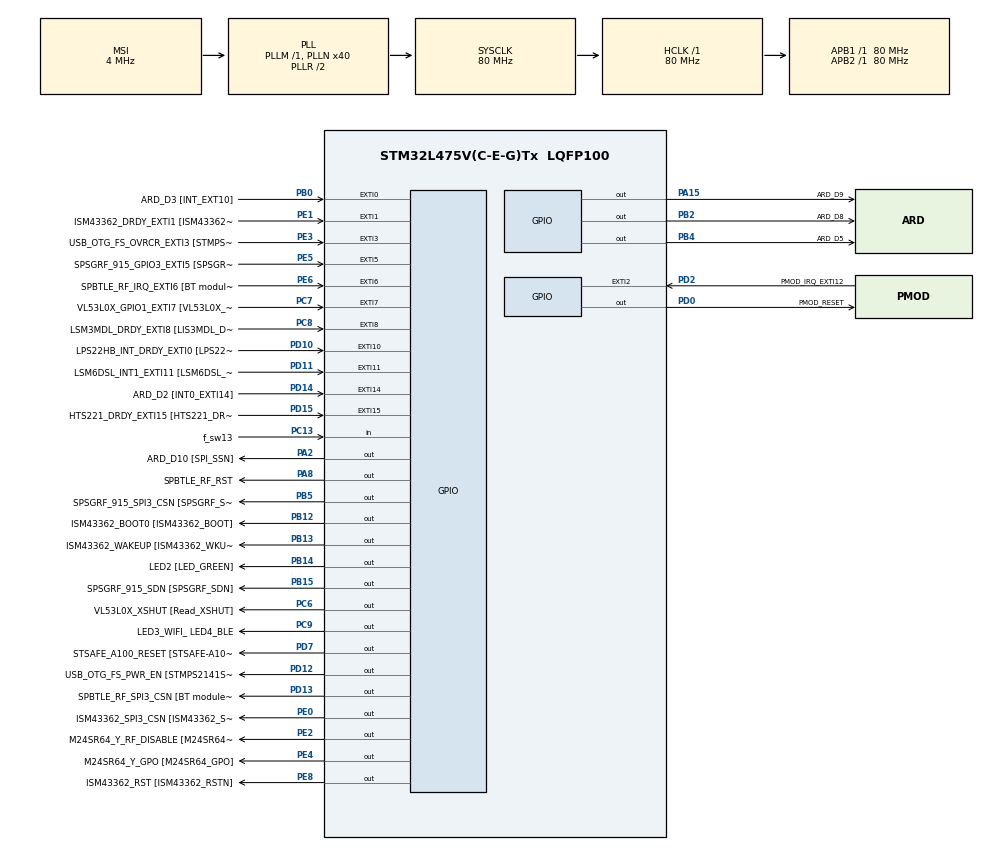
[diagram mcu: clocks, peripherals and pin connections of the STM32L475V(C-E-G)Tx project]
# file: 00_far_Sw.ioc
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Mcu.Family=STM32L4
Mcu.Name=STM32L475V(C-E-G)Tx
Mcu.Package=LQFP100
NVIC.EXTI15_10_IRQn=true\:0\:0\:false\:false\:true\:true\:true
NVIC.EXTI9_5_IRQn=true\:0\:0\:false\:false\:true\:true\:true
NVIC.PriorityGroup=NVIC_PRIORITYGROUP_4
NVIC.TIM1_UP_TIM16_IRQn=true\:0\:0\:false\:false\:true\:true\:true
PA0.GPIO_Label=ARD_D1 [UART4_TX]
PA0.Signal=UART4_TX
PA1.GPIO_Label=ARD_D0 [UART4_RX]
PA1.Signal=UART4_RX
PA10.GPIO_Label=USB_OTG_FS_ID
PA10.Signal=USB_OTG_FS_ID
PA11.GPIO_Label=USB_OTG_FS_DM
PA11.Signal=USB_OTG_FS_DM
PA12.GPIO_Label=USB_OTG_FS_DP
PA12.Signal=USB_OTG_FS_DP
PA13\ (JTMS-SWDIO).GPIO_Label=SYS_JTMS_SWDIO
PA13\ (JTMS-SWDIO).Signal=SYS_JTMS-SWDIO
PA14\ (JTCK-SWCLK).GPIO_Label=SYS_JTCK_SWCLK
PA14\ (JTCK-SWCLK).Signal=SYS_JTCK-SWCLK
PA15\ (JTDI).GPIO_Label=ARD_D9
PA15\ (JTDI).Signal=GPIO_Output
PA2.GPIO_Label=ARD_D10 [SPI_SSN]
PA2.Signal=GPIO_Output
PA3.GPIO_Label=ARD_D4
PA3.Signal=S_TIM2_CH4
PA4.GPIO_Label=ARD_D7
PA4.Signal=ADCx_IN9
PA5.GPIO_Label=ARD_D13 [SPI1_SCK]
PA5.Signal=SPI1_SCK
PA6.GPIO_Label=ARD_D12 [SPI1_MISO]
PA6.Signal=SPI1_MISO
PA7.GPIO_Label=ARD_D11 [SPI1_MOSI]
PA7.Signal=SPI1_MOSI
PA8.GPIO_Label=SPBTLE_RF_RST
PA8.Signal=GPIO_Output
PA9.GPIO_Label=USB_OTG_FS_VBUS [STMPS2141STR_OUT]
PA9.Signal=USB_OTG_FS_VBUS
PB0.GPIO_Label=ARD_D3 [INT_EXT10]
PB0.Signal=GPXTI0
PB1.GPIO_Label=ARD_D6 [ADC1_IN6]
PB1.Signal=ADCx_IN16
PB10.GPIO_Label=INTERNAL_I2C2_SCL [VL53L0X_SCL]
PB10.Signal=I2C2_SCL
PB11.GPIO_Label=INTERNAL_I2C2_SDA [VL53L0X_SDA]
PB11.Signal=I2C2_SDA
PB12.GPIO_Label=ISM43362_BOOT0 [ISM43362_BOOT]
PB12.Signal=GPIO_Output
PB13.GPIO_Label=ISM43362_WAKEUP [ISM43362_WKUP]
PB13.Signal=GPIO_Output
PB14.GPIO_Label=LED2 [LED_GREEN]
PB14.Signal=GPIO_Output
PB15.GPIO_Label=SPSGRF_915_SDN [SPSGRF_SDN]
PB15.Signal=GPIO_Output
PB2.GPIO_Label=ARD_D8
PB2.Signal=GPIO_Output
PB3\ (JTDO-TRACESWO).GPIO_Label=SYS_JTD0_SWO
PB3\ (JTDO-TRACESWO).Signal=SYS_JTDO-SWO
PB4\ (NJTRST).GPIO_Label=ARD_D5
PB4\ (NJTRST).Signal=GPIO_Output
PB5.GPIO_Label=SPSGRF_915_SPI3_CSN [SPSGRF_SPI_CS]
PB5.PinState=GPIO_PIN_SET
PB5.Signal=GPIO_Output
PB6.GPIO_Label=ST_LINK_UART1_TX
PB6.Signal=USART1_TX
PB7.GPIO_Label=ST_LINK_UART1_RX
PB7.Signal=USART1_RX
PB8.GPIO_Label=ARD_D15 [I2C1_SCL]
PB8.Signal=I2C1_SCL
PB9.GPIO_Label=ARD_D14 [I2C1_SDA]
PB9.Signal=I2C1_SDA
PC0.GPIO_Label=ARD_A5 [ADC]
PC0.Signal=ADCx_IN1
PC1.GPIO_Label=ARD_A4 [ADC]
PC1.Signal=ADCx_IN2
PC10.GPIO_Label=INTERNAL_SPI3_SCK [BT module_SPI_SCLK] [ISM43362_SCK]
PC10.Signal=SPI3_SCK
PC11.GPIO_Label=INTERNAL_SPI3_MISO [BT module_SPI_MISO] [ISM43362_MISO]
PC11.Signal=SPI3_MISO
PC12.GPIO_Label=INTERNAL_SPI3_MOSI [BT module_SPI_MOSI] [ISM43362_MOSI]
PC12.Signal=SPI3_MOSI
PC13.GPIO_Label=f_sw13
PC13.Signal=GPIO_Input
PC14-OSC32_IN\ (PC14).Signal=RCC_OSC32_IN
PC15-OSC32_OUT\ (PC15).Signal=RCC_OSC32_OUT
PC2.GPIO_Label=ARD_A3 [ADC]
PC2.Signal=ADCx_IN3
PC3.GPIO_Label=ARD_A2 [ADC]
PC3.Signal=ADCx_IN4
PC4.GPIO_Label=ARD_A1 [ADC]
PC4.Signal=ADCx_IN13
PC5.GPIO_Label=ARD_A0 [ADC]
PC5.Signal=ADCx_IN14
PC6.GPIO_Label=VL53L0X_XSHUT [Read_XSHUT]
PC6.Signal=GPIO_Output
PC7.GPIO_Label=VL53L0X_GPIO1_EXTI7 [VL53L0X_GPIO1]
PC7.Signal=GPXTI7
PC8.GPIO_Label=LSM3MDL_DRDY_EXTI8 [LIS3MDL_DRDY]
PC8.Signal=GPXTI8
PC9.GPIO_Label=LED3_WIFI_ LED4_BLE
PC9.Signal=GPIO_Output
PD0.GPIO_Label=PMOD_RESET
PD0.Signal=GPIO_Output
PD1.GPIO_Label=PMOD_SPI2_SCK
PD1.Signal=SPI2_SCK
PD10.GPIO_Label=LPS22HB_INT_DRDY_EXTI0 [LPS22HB_INT_DRDY] 
PD10.Signal=GPXTI10
PD11.GPIO_Label=LSM6DSL_INT1_EXTI11 [LSM6DSL_INT1]
PD11.Signal=GPXTI11
PD12.GPIO_Label=USB_OTG_FS_PWR_EN [STMPS2141STR_EN]
PD12.Signal=GPIO_Output
PD13.GPIO_Label=SPBTLE_RF_SPI3_CSN [BT module_SPI_CS]
PD13.PinState=GPIO_PIN_SET
PD13.Signal=GPIO_Output
PD14.GPIO_Label=ARD_D2 [INT0_EXTI14]
PD14.Signal=GPXTI14
PD15.GPIO_Label=HTS221_DRDY_EXTI15 [HTS221_DRDY]
PD15.Signal=GPXTI15
PD2.GPIO_Label=PMOD_IRQ_EXTI12
PD2.Signal=GPXTI2
PD3.GPIO_Label=PMOD_UART2_CTS
PD3.Signal=USART2_CTS
PD4.GPIO_Label=PMOD_UART2_RTS
PD4.Signal=USART2_RTS
PD5.GPIO_Label=PMOD_UART2_TX
PD5.Signal=USART2_TX
PD6.GPIO_Label=PMOD_UART2_RX
PD6.Signal=USART2_RX
PD7.GPIO_Label=STSAFE_A100_RESET [STSAFE-A100_RESET]
PD7.Signal=GPIO_Output
PD8.GPIO_Label=INTERNAL_UART3_TX [ISM43362_RX]
PD8.Signal=USART3_TX
PD9.GPIO_Label=INTERNAL_UART3_RX [ISM43362_TX]
PD9.Signal=USART3_RX
PE0.GPIO_Label=ISM43362_SPI3_CSN [ISM43362_SSN]
PE0.PinState=GPIO_PIN_SET
PE0.Signal=GPIO_Output
PE1.GPIO_Label=ISM43362_DRDY_EXTI1 [ISM43362_DATARDY]
PE1.Signal=GPXTI1
PE10.GPIO_Label=QUADSPI_CLK [MX25R6435F_SCLK]
PE10.Signal=QUADSPI_CLK
PE11.GPIO_Label=QUADSPI_NCS [MX25R6435F_SCLK]
PE11.Signal=QUADSPI_NCS
PE12.GPIO_Label=OQUADSPI_BK1_IO0 [MX25R6435F_IO0]
PE12.Signal=QUADSPI_BK1_IO0
PE13.GPIO_Label=QUADSPI_BK1_IO1 [MX25R6435F_IO1]
PE13.Signal=QUADSPI_BK1_IO1
PE14.GPIO_Label=QUAD_SPI_BK1_IO2 [MX25R6435F_IO2]
PE14.Signal=QUADSPI_BK1_IO2
PE15.GPIO_Label=QUAD_SPI_BK1_IO3 [MX25R6435F_IO3]
PE15.Signal=QUADSPI_BK1_IO3
PE2.GPIO_Label=M24SR64_Y_RF_DISABLE [M24SR64_RFDIS]
PE2.Signal=GPIO_Output
PE3.GPIO_Label=USB_OTG_FS_OVRCR_EXTI3 [STMPS2141STR_FAULT]
PE3.Signal=GPXTI3
PE4.GPIO_Label=M24SR64_Y_GPO [M24SR64_GPO]
PE4.Signal=GPIO_Output
PE5.GPIO_Label=SPSGRF_915_GPIO3_EXTI5 [SPSGRF_GPIO_3]
PE5.Signal=GPXTI5
PE6.GPIO_Label=SPBTLE_RF_IRQ_EXTI6 [BT module_SPI_IRQ]
PE6.Signal=GPXTI6
PE7.GPIO_Label=DFSDM1_DATIN2 [MP34DT01_DOUT]
PE7.Signal=S_DATAIN2DFSDM1
PE8.GPIO_Label=ISM43362_RST [ISM43362_RSTN]
PE8.Signal=GPIO_Output
PE9.GPIO_Label=DFSDM1_CKOUT [MP34DT01_CLK]
PE9.Signal=S_CKOUTDFSDM1
ProjectManager.HeapSize=0x200
ProjectManager.StackSize=0x400
ProjectManager.TargetToolchain=STM32CubeIDE
RCC.ADCFreq_Value=48000000
RCC.AHBFreq_Value=80000000
RCC.APB1Freq_Value=80000000
RCC.APB1TimFreq_Value=80000000
RCC.APB2Freq_Value=80000000
RCC.APB2TimFreq_Value=80000000
RCC.CortexFreq_Value=80000000
RCC.HCLKFreq_Value=80000000
RCC.HSE_VALUE=8000000
RCC.HSI_VALUE=16000000
RCC.LSE_VALUE=32768
RCC.MSI_VALUE=4000000
RCC.PLLN=40
RCC.PLLSAI1N=24
RCC.SYSCLKFreq_VALUE=80000000
RCC.SYSCLKSource=RCC_SYSCLKSOURCE_PLLCLK
RCC.USBFreq_Value=48000000
RCC.VCOOutputFreq_Value=160000000
SH.ADCx_IN1.0=ADC1_IN1
SH.ADCx_IN13.0=ADC1_IN13
SH.ADCx_IN14.0=ADC1_IN14
SH.ADCx_IN16.0=ADC1_IN16
SH.ADCx_IN2.0=ADC1_IN2
SH.ADCx_IN3.0=ADC1_IN3
SH.ADCx_IN4.0=ADC1_IN4
SH.ADCx_IN9.0=ADC1_IN9
SH.S_CKOUTDFSDM1.0=DFSDM1_CKOUT
SH.S_DATAIN2DFSDM1.0=DFSDM1_DATIN2
SH.S_TIM2_CH4.0=TIM2_CH4
TIM16.Prescaler=8000-1
VP_TIM16_VS_ClockSourceINT.Mode=Enable_Timer
board=B-L475E-IOT01A1

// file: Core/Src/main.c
/* USER CODE BEGIN Header */
/**
  ******************************************************************************
  * @file           : main.c
  * @brief          : Main program body
  ******************************************************************************
  * @attention
  *
  * <h2><center>&copy; Copyright (c) 2022 STMicroelectronics.
  * All rights reserved.</center></h2>
  *
  * This software component is licensed by ST under BSD 3-Clause license,
  * the "License"; You may not use this file except in compliance with the
  * License. You may obtain a copy of the License at:
  *                        opensource.org/licenses/BSD-3-Clause
  *
  ******************************************************************************
  */
/* USER CODE END Header */
#include "main.h"

/* USER CODE BEGIN Includes */
#include"stdio.h"
#include"string.h"
#include"stdbool.h"
/* USER CODE END Includes */

TIM_HandleTypeDef htim16;

/* USER CODE BEGIN PV */
uint16_t f_lastDebounceTime = 0;  					// the last time the output pin was toggled
uint16_t f_debounceDelay = 50;    					// the debounce time; increase if the output flickers
uint16_t f_presstime, f_releasetime; 				    //for saving millis at press and millis at release
uint16_t f_timediff; 								    //for saving the time in between each press and release of the switch
int f_lastButtonState = 1;   					    // the previous reading from the input Button
bool f_buttonState = 1; 						    //saving state of the switch
bool f_flag1, f_flag2; 								//just two variables
uint8_t f_tapCounter=0; 							//switch pressed counter
uint16_t f_reading=0;

volatile double f_timertest=0;
/* USER CODE END PV */

void SystemClock_Config(void);
static void MX_GPIO_Init(void);
static void MX_TIM16_Init(void);

int main(void)
{

  /* MCU Configuration--------------------------------------------------------*/

  /* Reset of all peripherals, Initializes the Flash interface and the Systick. */
  HAL_Init();

  /* Configure the system clock */
  SystemClock_Config();

  /* Initialize all configured peripherals */
  MX_GPIO_Init();
  MX_TIM16_Init();
  /* USER CODE BEGIN 2 */
  HAL_TIM_Base_Start(&htim16);
  /* USER CODE END 2 */

  /* Infinite loop */
  while (1)
  {

    /* USER CODE BEGIN 3 */
	    f_timertest = __HAL_TIM_GET_COUNTER(&htim16); // Get current time (microseconds)

	    f_reading = HAL_GPIO_ReadPin (GPIOC, f_sw13_Pin);

	    if (f_reading != f_lastButtonState)
	    {
	    	// reset the debouncing timer
	    	f_lastDebounceTime = __HAL_TIM_GET_COUNTER(&htim16)/1000;//millis
	    }
	  	if (((__HAL_TIM_GET_COUNTER(&htim16)/100) - f_lastDebounceTime) > f_debounceDelay)
	  	{
	      // if the button state has changed:
	      if (f_reading != f_buttonState)
	      {
	        f_buttonState = f_reading;
	      }
	    }

	    //printf("button stage : %d\n",f_buttonState)  //when switch is pressed
	    if ((f_buttonState == 0) && (f_flag2 == 0))
	    {
	      f_presstime = (__HAL_TIM_GET_COUNTER(&htim16)/100); //press time in millis
	      f_flag1 = 0;
	      f_flag2 = 1;
	      f_tapCounter++; //tap counter will increase by 1
	      //printf("Button Press : %d\n",f_tapCounter);
	    }
	    //when button is released
	    if ((f_buttonState == 1) && (f_flag1 == 0))
	    {
	      f_releasetime = (__HAL_TIM_GET_COUNTER(&htim16)/100); //release time in millis
	      f_flag1 = 1;
	      f_flag2 = 0;
	      f_timediff = f_releasetime - f_presstime; //the time gap between press and release
	      printf(" Time gap between Button press and release : %d\n",f_timediff);
	    }

//*****************************************

		  //wait for some time and if sw is in release position
			if (((__HAL_TIM_GET_COUNTER(&htim16)/100)- f_presstime) > 100 && f_buttonState == 1)
			{
				  if (f_tapCounter == 1) //if tap counter is 1
				  {
					if (f_timediff >= 100) //if time diff is larger than 400 then its a hold
					{
						printf("Hold\n");
					}
					else //if timediff is less than 400 then its a single tap
					{
						printf("single tap\n");
					}
				  }
				  else if (f_tapCounter == 2 ) //if tapcounter is 2
				  {
					if (f_timediff >= 100) // if timediff is greater than  400 then its single tap and hold
					{
						printf("single tap and hold\n");
					}
					else // if timediff is less than 400 then its just double tap
					{
						printf("double tap\n");
					}
				  }
				  else if (f_tapCounter == 3) //if tapcounter is 3 //then its triple tap
				  {
					  printf("triple tap\n");
				  }
				  else if (f_tapCounter == 4) //if tapcounter is 4 then its 4 tap
				  {
					  printf("four tap\n");
				  }

			  f_tapCounter = 0;
			}

		f_lastButtonState = f_reading;

	}

//****************************************

  /* USER CODE END 3 */
}

void SystemClock_Config(void)
{
  RCC_OscInitTypeDef RCC_OscInitStruct = {0};
  RCC_ClkInitTypeDef RCC_ClkInitStruct = {0};

  /** Configure the main internal regulator output voltage
  */
  if (HAL_PWREx_ControlVoltageScaling(PWR_REGULATOR_VOLTAGE_SCALE1) != HAL_OK)
  {
    Error_Handler();
  }
  /** Initializes the RCC Oscillators according to the specified parameters
  * in the RCC_OscInitTypeDef structure.
  */
  RCC_OscInitStruct.OscillatorType = RCC_OSCILLATORTYPE_MSI;
  RCC_OscInitStruct.MSIState = RCC_MSI_ON;
  RCC_OscInitStruct.MSICalibrationValue = 0;
  RCC_OscInitStruct.MSIClockRange = RCC_MSIRANGE_6;
  RCC_OscInitStruct.PLL.PLLState = RCC_PLL_ON;
  RCC_OscInitStruct.PLL.PLLSource = RCC_PLLSOURCE_MSI;
  RCC_OscInitStruct.PLL.PLLM = 1;
  RCC_OscInitStruct.PLL.PLLN = 40;
  RCC_OscInitStruct.PLL.PLLP = RCC_PLLP_DIV7;
  RCC_OscInitStruct.PLL.PLLQ = RCC_PLLQ_DIV2;
  RCC_OscInitStruct.PLL.PLLR = RCC_PLLR_DIV2;
  if (HAL_RCC_OscConfig(&RCC_OscInitStruct) != HAL_OK)
  {
    Error_Handler();
  }
  /** Initializes the CPU, AHB and APB buses clocks
  */
  RCC_ClkInitStruct.ClockType = RCC_CLOCKTYPE_HCLK|RCC_CLOCKTYPE_SYSCLK
                              |RCC_CLOCKTYPE_PCLK1|RCC_CLOCKTYPE_PCLK2;
  RCC_ClkInitStruct.SYSCLKSource = RCC_SYSCLKSOURCE_PLLCLK;
  RCC_ClkInitStruct.AHBCLKDivider = RCC_SYSCLK_DIV1;
  RCC_ClkInitStruct.APB1CLKDivider = RCC_HCLK_DIV1;
  RCC_ClkInitStruct.APB2CLKDivider = RCC_HCLK_DIV1;

  if (HAL_RCC_ClockConfig(&RCC_ClkInitStruct, FLASH_LATENCY_4) != HAL_OK)
  {
    Error_Handler();
  }
}

static void MX_TIM16_Init(void)
{

  htim16.Instance = TIM16;
  htim16.Init.Prescaler = 8000-1;
  htim16.Init.CounterMode = TIM_COUNTERMODE_UP;
  htim16.Init.Period = 65535;
  htim16.Init.ClockDivision = TIM_CLOCKDIVISION_DIV1;
  htim16.Init.RepetitionCounter = 0;
  htim16.Init.AutoReloadPreload = TIM_AUTORELOAD_PRELOAD_DISABLE;
  if (HAL_TIM_Base_Init(&htim16) != HAL_OK)
  {
    Error_Handler();
  }

}

static void MX_GPIO_Init(void)
{
  GPIO_InitTypeDef GPIO_InitStruct = {0};

  /* GPIO Ports Clock Enable */
  __HAL_RCC_GPIOE_CLK_ENABLE();
  __HAL_RCC_GPIOC_CLK_ENABLE();
  __HAL_RCC_GPIOA_CLK_ENABLE();
  __HAL_RCC_GPIOB_CLK_ENABLE();
  __HAL_RCC_GPIOD_CLK_ENABLE();

  /*Configure GPIO pin Output Level */
  HAL_GPIO_WritePin(GPIOE, M24SR64_Y_RF_DISABLE_Pin|M24SR64_Y_GPO_Pin|ISM43362_RST_Pin, GPIO_PIN_RESET);

  /*Configure GPIO pin Output Level */
  HAL_GPIO_WritePin(GPIOA, ARD_D10_Pin|SPBTLE_RF_RST_Pin|ARD_D9_Pin, GPIO_PIN_RESET);

  /*Configure GPIO pin Output Level */
  HAL_GPIO_WritePin(GPIOB, ARD_D8_Pin|ISM43362_BOOT0_Pin|ISM43362_WAKEUP_Pin|LED2_Pin
                          |SPSGRF_915_SDN_Pin|ARD_D5_Pin, GPIO_PIN_RESET);

  /*Configure GPIO pin Output Level */
  HAL_GPIO_WritePin(GPIOD, USB_OTG_FS_PWR_EN_Pin|PMOD_RESET_Pin|STSAFE_A100_RESET_Pin, GPIO_PIN_RESET);

  /*Configure GPIO pin Output Level */
  HAL_GPIO_WritePin(SPBTLE_RF_SPI3_CSN_GPIO_Port, SPBTLE_RF_SPI3_CSN_Pin, GPIO_PIN_SET);

  /*Configure GPIO pin Output Level */
  HAL_GPIO_WritePin(GPIOC, VL53L0X_XSHUT_Pin|LED3_WIFI__LED4_BLE_Pin, GPIO_PIN_RESET);

  /*Configure GPIO pin Output Level */
  HAL_GPIO_WritePin(SPSGRF_915_SPI3_CSN_GPIO_Port, SPSGRF_915_SPI3_CSN_Pin, GPIO_PIN_SET);

  /*Configure GPIO pin Output Level */
  HAL_GPIO_WritePin(ISM43362_SPI3_CSN_GPIO_Port, ISM43362_SPI3_CSN_Pin, GPIO_PIN_SET);

  /*Configure GPIO pins : M24SR64_Y_RF_DISABLE_Pin M24SR64_Y_GPO_Pin ISM43362_RST_Pin ISM43362_SPI3_CSN_Pin */
  GPIO_InitStruct.Pin = M24SR64_Y_RF_DISABLE_Pin|M24SR64_Y_GPO_Pin|ISM43362_RST_Pin|ISM43362_SPI3_CSN_Pin;
  GPIO_InitStruct.Mode = GPIO_MODE_OUTPUT_PP;
  GPIO_InitStruct.Pull = GPIO_NOPULL;
  GPIO_InitStruct.Speed = GPIO_SPEED_FREQ_LOW;
  HAL_GPIO_Init(GPIOE, &GPIO_InitStruct);

  /*Configure GPIO pins : USB_OTG_FS_OVRCR_EXTI3_Pin SPSGRF_915_GPIO3_EXTI5_Pin SPBTLE_RF_IRQ_EXTI6_Pin ISM43362_DRDY_EXTI1_Pin */
  GPIO_InitStruct.Pin = USB_OTG_FS_OVRCR_EXTI3_Pin|SPSGRF_915_GPIO3_EXTI5_Pin|SPBTLE_RF_IRQ_EXTI6_Pin|ISM43362_DRDY_EXTI1_Pin;
  GPIO_InitStruct.Mode = GPIO_MODE_IT_RISING;
  GPIO_InitStruct.Pull = GPIO_NOPULL;
  HAL_GPIO_Init(GPIOE, &GPIO_InitStruct);

  /*Configure GPIO pin : f_sw13_Pin */
  GPIO_InitStruct.Pin = f_sw13_Pin;
  GPIO_InitStruct.Mode = GPIO_MODE_INPUT;
  GPIO_InitStruct.Pull = GPIO_NOPULL;
  HAL_GPIO_Init(f_sw13_GPIO_Port, &GPIO_InitStruct);

  /*Configure GPIO pins : ARD_A5_Pin ARD_A4_Pin ARD_A3_Pin ARD_A2_Pin
                           ARD_A1_Pin ARD_A0_Pin */
  GPIO_InitStruct.Pin = ARD_A5_Pin|ARD_A4_Pin|ARD_A3_Pin|ARD_A2_Pin
                          |ARD_A1_Pin|ARD_A0_Pin;
  GPIO_InitStruct.Mode = GPIO_MODE_ANALOG_ADC_CONTROL;
  GPIO_InitStruct.Pull = GPIO_NOPULL;
  HAL_GPIO_Init(GPIOC, &GPIO_InitStruct);

  /*Configure GPIO pins : ARD_D1_Pin ARD_D0_Pin */
  GPIO_InitStruct.Pin = ARD_D1_Pin|ARD_D0_Pin;
  GPIO_InitStruct.Mode = GPIO_MODE_AF_PP;
  GPIO_InitStruct.Pull = GPIO_NOPULL;
  GPIO_InitStruct.Speed = GPIO_SPEED_FREQ_VERY_HIGH;
  GPIO_InitStruct.Alternate = GPIO_AF8_UART4;
  HAL_GPIO_Init(GPIOA, &GPIO_InitStruct);

  /*Configure GPIO pins : ARD_D10_Pin SPBTLE_RF_RST_Pin ARD_D9_Pin */
  GPIO_InitStruct.Pin = ARD_D10_Pin|SPBTLE_RF_RST_Pin|ARD_D9_Pin;
  GPIO_InitStruct.Mode = GPIO_MODE_OUTPUT_PP;
  GPIO_InitStruct.Pull = GPIO_NOPULL;
  GPIO_InitStruct.Speed = GPIO_SPEED_FREQ_LOW;
  HAL_GPIO_Init(GPIOA, &GPIO_InitStruct);

  /*Configure GPIO pin : ARD_D4_Pin */
  GPIO_InitStruct.Pin = ARD_D4_Pin;
  GPIO_InitStruct.Mode = GPIO_MODE_AF_PP;
  GPIO_InitStruct.Pull = GPIO_NOPULL;
  GPIO_InitStruct.Speed = GPIO_SPEED_FREQ_LOW;
  GPIO_InitStruct.Alternate = GPIO_AF1_TIM2;
  HAL_GPIO_Init(ARD_D4_GPIO_Port, &GPIO_InitStruct);

  /*Configure GPIO pin : ARD_D7_Pin */
  GPIO_InitStruct.Pin = ARD_D7_Pin;
  GPIO_InitStruct.Mode = GPIO_MODE_ANALOG_ADC_CONTROL;
  GPIO_InitStruct.Pull = GPIO_NOPULL;
  HAL_GPIO_Init(ARD_D7_GPIO_Port, &GPIO_InitStruct);

  /*Configure GPIO pins : ARD_D13_Pin ARD_D12_Pin ARD_D11_Pin */
  GPIO_InitStruct.Pin = ARD_D13_Pin|ARD_D12_Pin|ARD_D11_Pin;
  GPIO_InitStruct.Mode = GPIO_MODE_AF_PP;
  GPIO_InitStruct.Pull = GPIO_NOPULL;
  GPIO_InitStruct.Speed = GPIO_SPEED_FREQ_VERY_HIGH;
  GPIO_InitStruct.Alternate = GPIO_AF5_SPI1;
  HAL_GPIO_Init(GPIOA, &GPIO_InitStruct);

  /*Configure GPIO pin : ARD_D3_Pin */
  GPIO_InitStruct.Pin = ARD_D3_Pin;
  GPIO_InitStruct.Mode = GPIO_MODE_IT_RISING;
  GPIO_InitStruct.Pull = GPIO_NOPULL;
  HAL_GPIO_Init(ARD_D3_GPIO_Port, &GPIO_InitStruct);

  /*Configure GPIO pin : ARD_D6_Pin */
  GPIO_InitStruct.Pin = ARD_D6_Pin;
  GPIO_InitStruct.Mode = GPIO_MODE_ANALOG_ADC_CONTROL;
  GPIO_InitStruct.Pull = GPIO_NOPULL;
  HAL_GPIO_Init(ARD_D6_GPIO_Port, &GPIO_InitStruct);

  /*Configure GPIO pins : ARD_D8_Pin ISM43362_BOOT0_Pin ISM43362_WAKEUP_Pin LED2_Pin
                           SPSGRF_915_SDN_Pin ARD_D5_Pin SPSGRF_915_SPI3_CSN_Pin */
  GPIO_InitStruct.Pin = ARD_D8_Pin|ISM43362_BOOT0_Pin|ISM43362_WAKEUP_Pin|LED2_Pin
                          |SPSGRF_915_SDN_Pin|ARD_D5_Pin|SPSGRF_915_SPI3_CSN_Pin;
  GPIO_InitStruct.Mode = GPIO_MODE_OUTPUT_PP;
  GPIO_InitStruct.Pull = GPIO_NOPULL;
  GPIO_InitStruct.Speed = GPIO_SPEED_FREQ_LOW;
  HAL_GPIO_Init(GPIOB, &GPIO_InitStruct);

  /*Configure GPIO pins : DFSDM1_DATIN2_Pin DFSDM1_CKOUT_Pin */
  GPIO_InitStruct.Pin = DFSDM1_DATIN2_Pin|DFSDM1_CKOUT_Pin;
  GPIO_InitStruct.Mode = GPIO_MODE_AF_PP;
  GPIO_InitStruct.Pull = GPIO_NOPULL;
  GPIO_InitStruct.Speed = GPIO_SPEED_FREQ_LOW;
  GPIO_InitStruct.Alternate = GPIO_AF6_DFSDM1;
  HAL_GPIO_Init(GPIOE, &GPIO_InitStruct);

  /*Configure GPIO pins : QUADSPI_CLK_Pin QUADSPI_NCS_Pin OQUADSPI_BK1_IO0_Pin QUADSPI_BK1_IO1_Pin
                           QUAD_SPI_BK1_IO2_Pin QUAD_SPI_BK1_IO3_Pin */
  GPIO_InitStruct.Pin = QUADSPI_CLK_Pin|QUADSPI_NCS_Pin|OQUADSPI_BK1_IO0_Pin|QUADSPI_BK1_IO1_Pin
                          |QUAD_SPI_BK1_IO2_Pin|QUAD_SPI_BK1_IO3_Pin;
  GPIO_InitStruct.Mode = GPIO_MODE_AF_PP;
  GPIO_InitStruct.Pull = GPIO_NOPULL;
  GPIO_InitStruct.Speed = GPIO_SPEED_FREQ_VERY_HIGH;
  GPIO_InitStruct.Alternate = GPIO_AF10_QUADSPI;
  HAL_GPIO_Init(GPIOE, &GPIO_InitStruct);

  /*Configure GPIO pins : INTERNAL_I2C2_SCL_Pin INTERNAL_I2C2_SDA_Pin */
  GPIO_InitStruct.Pin = INTERNAL_I2C2_SCL_Pin|INTERNAL_I2C2_SDA_Pin;
  GPIO_InitStruct.Mode = GPIO_MODE_AF_OD;
  GPIO_InitStruct.Pull = GPIO_NOPULL;
  GPIO_InitStruct.Speed = GPIO_SPEED_FREQ_VERY_HIGH;
  GPIO_InitStruct.Alternate = GPIO_AF4_I2C2;
  HAL_GPIO_Init(GPIOB, &GPIO_InitStruct);

  /*Configure GPIO pins : INTERNAL_UART3_TX_Pin INTERNAL_UART3_RX_Pin */
  GPIO_InitStruct.Pin = INTERNAL_UART3_TX_Pin|INTERNAL_UART3_RX_Pin;
  GPIO_InitStruct.Mode = GPIO_MODE_AF_PP;
  GPIO_InitStruct.Pull = GPIO_NOPULL;
  GPIO_InitStruct.Speed = GPIO_SPEED_FREQ_VERY_HIGH;
  GPIO_InitStruct.Alternate = GPIO_AF7_USART3;
  HAL_GPIO_Init(GPIOD, &GPIO_InitStruct);

  /*Configure GPIO pins : LPS22HB_INT_DRDY_EXTI0_Pin LSM6DSL_INT1_EXTI11_Pin ARD_D2_Pin HTS221_DRDY_EXTI15_Pin
                           PMOD_IRQ_EXTI12_Pin */
  GPIO_InitStruct.Pin = LPS22HB_INT_DRDY_EXTI0_Pin|LSM6DSL_INT1_EXTI11_Pin|ARD_D2_Pin|HTS221_DRDY_EXTI15_Pin
                          |PMOD_IRQ_EXTI12_Pin;
  GPIO_InitStruct.Mode = GPIO_MODE_IT_RISING;
  GPIO_InitStruct.Pull = GPIO_NOPULL;
  HAL_GPIO_Init(GPIOD, &GPIO_InitStruct);

  /*Configure GPIO pins : USB_OTG_FS_PWR_EN_Pin SPBTLE_RF_SPI3_CSN_Pin PMOD_RESET_Pin STSAFE_A100_RESET_Pin */
  GPIO_InitStruct.Pin = USB_OTG_FS_PWR_EN_Pin|SPBTLE_RF_SPI3_CSN_Pin|PMOD_RESET_Pin|STSAFE_A100_RESET_Pin;
  GPIO_InitStruct.Mode = GPIO_MODE_OUTPUT_PP;
  GPIO_InitStruct.Pull = GPIO_NOPULL;
  GPIO_InitStruct.Speed = GPIO_SPEED_FREQ_LOW;
  HAL_GPIO_Init(GPIOD, &GPIO_InitStruct);

  /*Configure GPIO pins : VL53L0X_XSHUT_Pin LED3_WIFI__LED4_BLE_Pin */
  GPIO_InitStruct.Pin = VL53L0X_XSHUT_Pin|LED3_WIFI__LED4_BLE_Pin;
  GPIO_InitStruct.Mode = GPIO_MODE_OUTPUT_PP;
  GPIO_InitStruct.Pull = GPIO_NOPULL;
  GPIO_InitStruct.Speed = GPIO_SPEED_FREQ_LOW;
  HAL_GPIO_Init(GPIOC, &GPIO_InitStruct);

  /*Configure GPIO pins : VL53L0X_GPIO1_EXTI7_Pin LSM3MDL_DRDY_EXTI8_Pin */
  GPIO_InitStruct.Pin = VL53L0X_GPIO1_EXTI7_Pin|LSM3MDL_DRDY_EXTI8_Pin;
  GPIO_InitStruct.Mode = GPIO_MODE_IT_RISING;
  GPIO_InitStruct.Pull = GPIO_NOPULL;
  HAL_GPIO_Init(GPIOC, &GPIO_InitStruct);

  /*Configure GPIO pin : USB_OTG_FS_VBUS_Pin */
  GPIO_InitStruct.Pin = USB_OTG_FS_VBUS_Pin;
  GPIO_InitStruct.Mode = GPIO_MODE_INPUT;
  GPIO_InitStruct.Pull = GPIO_NOPULL;
  HAL_GPIO_Init(USB_OTG_FS_VBUS_GPIO_Port, &GPIO_InitStruct);

  /*Configure GPIO pins : USB_OTG_FS_ID_Pin USB_OTG_FS_DM_Pin USB_OTG_FS_DP_Pin */
  GPIO_InitStruct.Pin = USB_OTG_FS_ID_Pin|USB_OTG_FS_DM_Pin|USB_OTG_FS_DP_Pin;
  GPIO_InitStruct.Mode = GPIO_MODE_AF_PP;
  GPIO_InitStruct.Pull = GPIO_NOPULL;
  GPIO_InitStruct.Speed = GPIO_SPEED_FREQ_VERY_HIGH;
  GPIO_InitStruct.Alternate = GPIO_AF10_OTG_FS;
  HAL_GPIO_Init(GPIOA, &GPIO_InitStruct);

  /*Configure GPIO pins : INTERNAL_SPI3_SCK_Pin INTERNAL_SPI3_MISO_Pin INTERNAL_SPI3_MOSI_Pin */
  GPIO_InitStruct.Pin = INTERNAL_SPI3_SCK_Pin|INTERNAL_SPI3_MISO_Pin|INTERNAL_SPI3_MOSI_Pin;
  GPIO_InitStruct.Mode = GPIO_MODE_AF_PP;
  GPIO_InitStruct.Pull = GPIO_NOPULL;
  GPIO_InitStruct.Speed = GPIO_SPEED_FREQ_VERY_HIGH;
  GPIO_InitStruct.Alternate = GPIO_AF6_SPI3;
  HAL_GPIO_Init(GPIOC, &GPIO_InitStruct);

  /*Configure GPIO pin : PMOD_SPI2_SCK_Pin */
  GPIO_InitStruct.Pin = PMOD_SPI2_SCK_Pin;
  GPIO_InitStruct.Mode = GPIO_MODE_AF_PP;
  GPIO_InitStruct.Pull = GPIO_NOPULL;
  GPIO_InitStruct.Speed = GPIO_SPEED_FREQ_VERY_HIGH;
  GPIO_InitStruct.Alternate = GPIO_AF5_SPI2;
  HAL_GPIO_Init(PMOD_SPI2_SCK_GPIO_Port, &GPIO_InitStruct);

  /*Configure GPIO pins : PMOD_UART2_CTS_Pin PMOD_UART2_RTS_Pin PMOD_UART2_TX_Pin PMOD_UART2_RX_Pin */
  GPIO_InitStruct.Pin = PMOD_UART2_CTS_Pin|PMOD_UART2_RTS_Pin|PMOD_UART2_TX_Pin|PMOD_UART2_RX_Pin;
  GPIO_InitStruct.Mode = GPIO_MODE_AF_PP;
  GPIO_InitStruct.Pull = GPIO_NOPULL;
  GPIO_InitStruct.Speed = GPIO_SPEED_FREQ_VERY_HIGH;
  GPIO_InitStruct.Alternate = GPIO_AF7_USART2;
  HAL_GPIO_Init(GPIOD, &GPIO_InitStruct);

  /*Configure GPIO pins : ST_LINK_UART1_TX_Pin ST_LINK_UART1_RX_Pin */
  GPIO_InitStruct.Pin = ST_LINK_UART1_TX_Pin|ST_LINK_UART1_RX_Pin;
  GPIO_InitStruct.Mode = GPIO_MODE_AF_PP;
  GPIO_InitStruct.Pull = GPIO_NOPULL;
  GPIO_InitStruct.Speed = GPIO_SPEED_FREQ_VERY_HIGH;
  GPIO_InitStruct.Alternate = GPIO_AF7_USART1;
  HAL_GPIO_Init(GPIOB, &GPIO_InitStruct);

  /*Configure GPIO pins : ARD_D15_Pin ARD_D14_Pin */
  GPIO_InitStruct.Pin = ARD_D15_Pin|ARD_D14_Pin;
  GPIO_InitStruct.Mode = GPIO_MODE_AF_OD;
  GPIO_InitStruct.Pull = GPIO_NOPULL;
  GPIO_InitStruct.Speed = GPIO_SPEED_FREQ_VERY_HIGH;
  GPIO_InitStruct.Alternate = GPIO_AF4_I2C1;
  HAL_GPIO_Init(GPIOB, &GPIO_InitStruct);

  /* EXTI interrupt init*/
  HAL_NVIC_SetPriority(EXTI9_5_IRQn, 0, 0);
  HAL_NVIC_EnableIRQ(EXTI9_5_IRQn);

  HAL_NVIC_SetPriority(EXTI15_10_IRQn, 0, 0);
  HAL_NVIC_EnableIRQ(EXTI15_10_IRQn);

}

void Error_Handler(void)
{
  __disable_irq();
  while (1)
  {
  }
}

/************************ (C) COPYRIGHT STMicroelectronics *****END OF FILE****/
